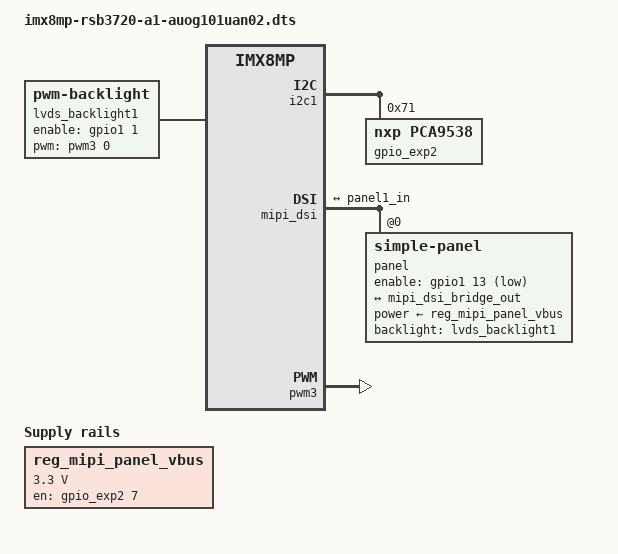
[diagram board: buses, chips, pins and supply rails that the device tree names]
#include <dt-bindings/media/mipi_dsi.h>
#include "imx8mp-rsb3720-a1.dts"

/ {
	/delete-node/ rm67191_panel;

	reg_mipi_panel_vbus: reg-mipi-panel-vbus {
		compatible = "regulator-fixed";
		regulator-name = "mipi-panel";
		regulator-min-microvolt = <3300000>;
		regulator-max-microvolt = <3300000>;
		enable-active-high;
		gpio = <&gpio_exp2 7 GPIO_ACTIVE_HIGH>; /* LCD_BKLT1_EN */
	};

	lvds_backlight1: lvds_backlight@1 {
		compatible = "pwm-backlight";
		pwms = <&pwm3 0 5000000>;
		brightness-levels = < 0  1  2  3  4  5  6  7  8  9
				     10 11 12 13 14 15 16 17 18 19
				     20 21 22 23 24 25 26 27 28 29
				     30 31 32 33 34 35 36 37 38 39
				     40 41 42 43 44 45 46 47 48 49
				     50 51 52 53 54 55 56 57 58 59
				     60 61 62 63 64 65 66 67 68 69
				     70 71 72 73 74 75 76 77 78 79
				     80 81 82 83 84 85 86 87 88 89
				     90 91 92 93 94 95 96 97 98 99
				    100>;
		default-brightness-level = <80>;
	};
};

/delete-node/ &adv_bridge;

&i2c1 {
	gpio_exp2: tca9538@71 {
		compatible = "nxp,pca9538";
		reg = <0x71>;
		gpio-controller;
		#gpio-cells = <2>;
	};
};

&mipi_dsi {

	/delete-node/ port@1;
	/delete-node/ port@2;

	panel@0 {
		compatible = "simple-panel";
		reg = <0>;
		pinctrl-names = "default";
		pinctrl-0 = <&pinctrl_lcd1>;
		enable-gpios = <&gpio1 13 GPIO_ACTIVE_LOW>;
		backlight = <&lvds_backlight1>;
		power-supply = <&reg_mipi_panel_vbus>;

		simple,dsi-flags = <(MIPI_DSI_MODE_VIDEO | MIPI_DSI_MODE_VIDEO_BURST | MIPI_DSI_MODE_VIDEO_SYNC_PULSE | MIPI_DSI_MODE_EOT_PACKET)>;
		simple,dsi-format = <MIPI_DSI_FMT_RGB888>;
		simple,dsi-lanes = <4>;

		status = "okay";
		panel-init-sequence = [
			29 00 06 3C 01 03 00 02 00
			29 00 06 14 01 02 00 00 00
			29 00 06 64 01 00 00 00 00
			29 00 06 68 01 00 00 00 00
			29 00 06 6C 01 00 00 00 00
			29 00 06 70 01 00 00 00 00
			29 00 06 34 01 1F 00 00 00
			29 00 06 10 02 1F 00 00 00
			29 00 06 04 01 01 00 00 00
			29 00 06 04 02 01 00 00 00
			29 00 06 50 04 20 01 F0 03
			29 00 06 54 04 06 00 32 00
			29 00 06 58 04 20 03 C8 00
			29 00 06 5C 04 04 00 04 00
			29 00 06 60 04 E0 01 14 00
			29 00 06 64 04 01 00 00 00
			29 01 06 A0 04 2D 80 44 00
			29 00 06 A0 04 2D 80 04 00
			29 00 06 04 05 04 00 00 00
			29 00 06 80 04 00 01 02 03
			29 00 06 84 04 04 07 05 08
			29 00 06 88 04 09 0A 0E 0F
			29 00 06 8C 04 0B 0C 0D 10
			29 00 06 90 04 16 17 11 12
			29 00 06 94 04 13 14 15 1B
			29 14 06 98 04 18 19 1A 06
			29 78 06 9C 04 31 00 00 00
		];

		display-timings {
			native-mode = <&timing0>;
			timing0: timing0 {
				clock-frequency = <148500000>;
				hactive = <1920>;
				vactive = <1200>;
				hfront-porch = <60>;
				hback-porch = <60>;
				hsync-len = <18>;
				vback-porch = <4>;
				vfront-porch = <4>;
				vsync-len = <4>;
			};
		};

		port {
			panel1_in: endpoint {
				remote-endpoint = <&mipi_dsi_bridge_out>;
			};
		};
	};

	port@2 {
		mipi_dsi_bridge_out: endpoint {
			remote-endpoint = <&panel1_in>;
		};
	};
};

&iomuxc {
	pinctrl_pwm3: pwm3grp {
		fsl,pins = <
			MX8MP_IOMUXC_SAI5_RXC__PWM3_OUT		0x116	
		>;
	};

	pinctrl_bklt: bkltgrp {
		fsl,pins = <
			MX8MP_IOMUXC_GPIO1_IO01__GPIO1_IO01	0x19	/* VDD_BKLT1_EN */
		>;
	};

	pinctrl_lcd1: lcd1grp {
		fsl,pins = <
			MX8MP_IOMUXC_GPIO1_IO13__GPIO1_IO13	0x19	/* LCD1_VDD_EN */
		>;
	};
};

&pwm3 {
	status = "okay";
	pinctrl-names = "default";
	pinctrl-0 = <&pinctrl_pwm3>;
};

&lvds_backlight1 {
	pinctrl-names = "default";
	pinctrl-0 = <&pinctrl_bklt>;
	enable-gpios = <&gpio1 1 GPIO_ACTIVE_HIGH>; /* VDD_BKLT1_EN */
	status = "okay";
};
